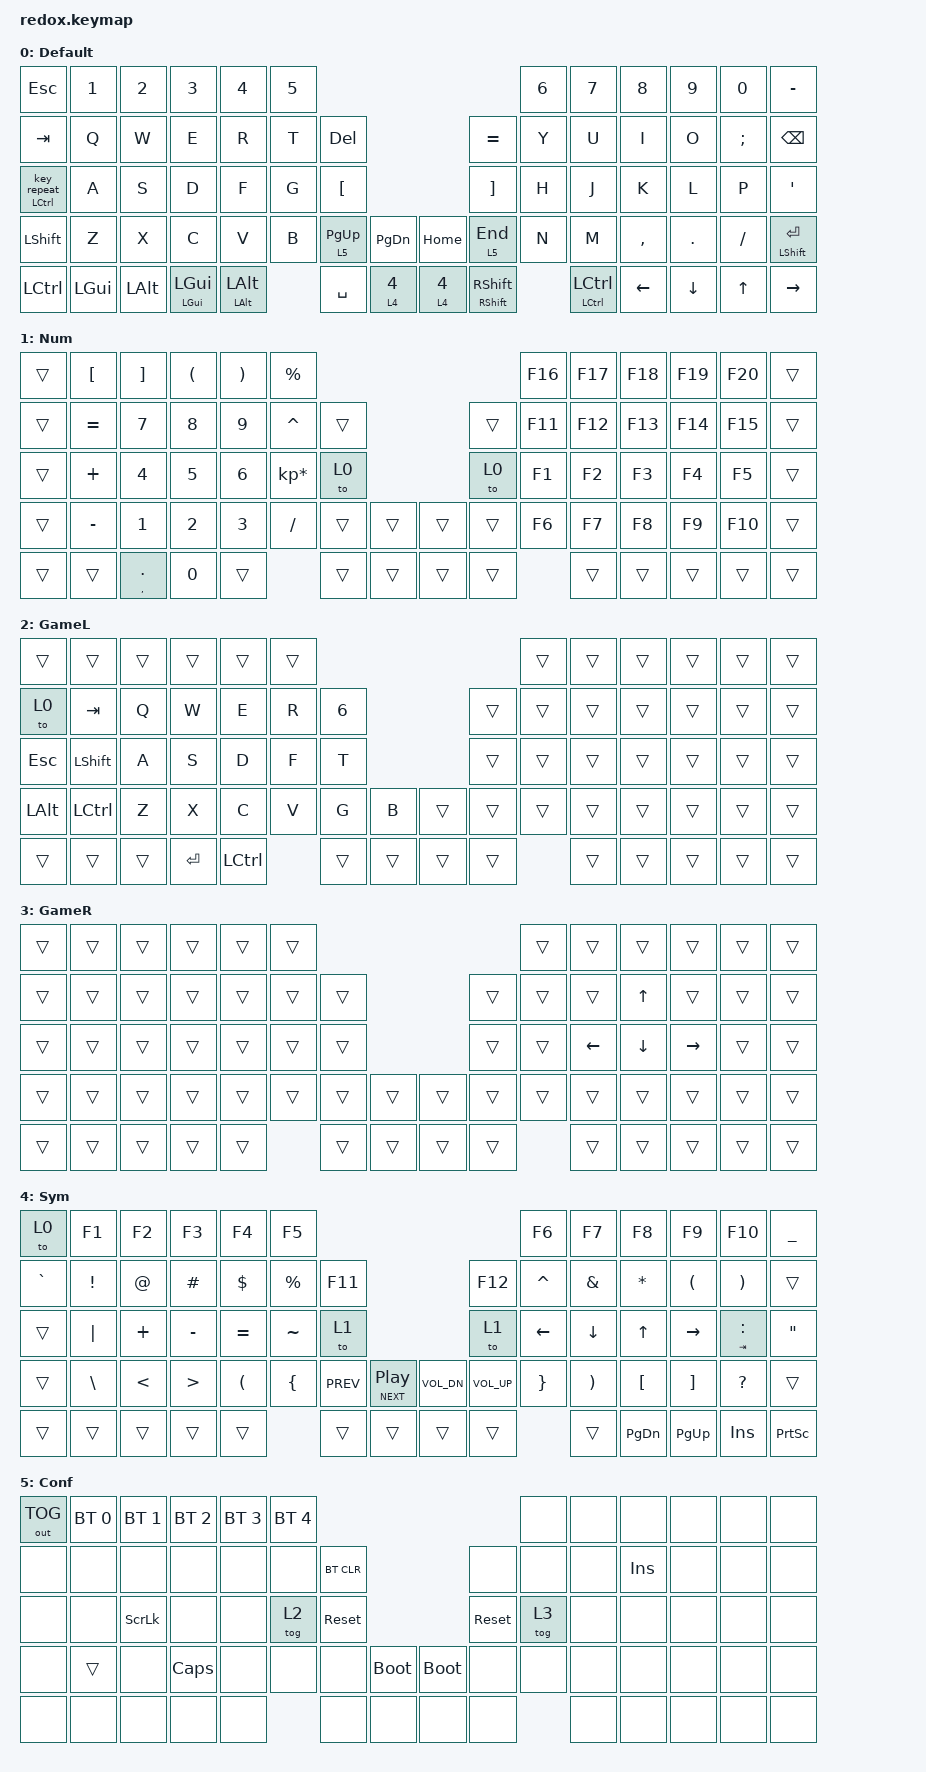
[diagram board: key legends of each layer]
/*
 * Copyright (c) 2021 The ZMK Contributors
 *
 * SPDX-License-Identifier: MIT
 */

#include <behaviors.dtsi>
#include <dt-bindings/zmk/bt.h>
#include <dt-bindings/zmk/keys.h>
#include <dt-bindings/zmk/outputs.h>

&sk { quick-release; };

/ {
    behaviors {
        htnr: behavior_hold_tap_no_rep {
            compatible = "zmk,behavior-hold-tap";
            #binding-cells = <2>;
            flavor = "tap-preferred";
            tapping-term-ms = <200>;
            bindings = <&kpnr>, <&kp>;
        };

        htsk: htsk {
            compatible = "zmk,behavior-hold-tap";
            label = "hold-tap sticky key helper";
            bindings = <&kp>, <&sk>;

            #binding-cells = <2>;
            tapping-term-ms = <200>;
            flavor = "tap-preferred";
        };

        htslim: htslim {
            compatible = "zmk,behavior-hold-tap";
            label = "hold-tap sticky layer";
            bindings = <&mo>, <&slim>;

            #binding-cells = <2>;
            tapping-term-ms = <200>;
            flavor = "tap-preferred";
        };

        slim: slim {
            compatible = "zmk,behavior-sticky-key";
            label = "Sticky layer ignore modifiers";
            bindings = <&mo>;
            #binding-cells = <1>;
            quick-release;
            ignore-modifiers;
            release-after-ms = <1800>;
        };

        ht_kp_rep: ht_kp_rep {
            compatible = "zmk,behavior-hold-tap";
            label = "Hold-tap &kp &key_repeat";
            bindings = <&kp>, <&key_repeat>;

            #binding-cells = <2>;
            tapping-term-ms = <200>;
        };

        esc_cstate: esc_cstate {
            compatible = "zmk,behavior-mod-morph";
            label = "ESC clear state";
            bindings = <&kp ESC>, <&clear_state>;

            #binding-cells = <0>;
            mods = <(MOD_LCTL|MOD_LSFT|MOD_LALT|MOD_LGUI|MOD_RCTL|MOD_RSFT|MOD_RALT|MOD_RGUI)>;
        };
    };

    macros {
        kpnr: macro_kpnr {
            compatible = "zmk,behavior-macro-one-param";
            #binding-cells = <1>;
            bindings = <&macro_param_1to1 &kp MACRO_PLACEHOLDER>;
            label = "kp no repeat";
        };

        clear_state: clear_state {
            compatible = "zmk,behavior-macro";
            #binding-cells = <0>;
            bindings = <&to 0 &kp F24>;
            label = "CLEAR_STATE";
        };
    };

    combos {
        compatible = "zmk,combos";

        combo_under {
            bindings = <&kp UNDER>;
            key-positions = <35 36>;
            layers = <0>;
        };

        combo_ret {
            bindings = <&kp RET>;
            key-positions = <30 29>;
            layers = <0 4 1>;
        };

        combo_L0 {
            bindings = <&clear_state>;
            key-positions = <62 63>;
        };

        combo_esc_right {
            bindings = <&esc_cstate>;
            key-positions = <52 53>;
            layers = <0>;
        };

        combo_esc_left {
            bindings = <&esc_cstate>;
            key-positions = <43 42>;
            layers = <0>;
        };

        combo_home {
            bindings = <&kp HOME>;
            key-positions = <31 30>;
            layers = <0 4>;
        };

        combo_end {
            bindings = <&kp END>;
            key-positions = <35 34>;
            layers = <0 4>;
        };

        combo_cstate_right {
            bindings = <&clear_state>;
            key-positions = <52 53>;
            layers = <4>;
        };

        combo_cstate_left {
            bindings = <&clear_state>;
            key-positions = <43 42>;
            layers = <4>;
        };
    };

    keymap {
        compatible = "zmk,keymap";

        default_layer {
            bindings = <
&kp ESC             &kp N1        &kp N2        &kp N3           &kp N4           &kp N5                                                              &kp N6  &kp N7             &kp N8     &kp N9    &kp N0    &kp MINUS
&kp TAB             &kp Q         &kp W         &kp E            &kp R            &kp T   &kp DELETE                               &kp EQUAL          &kp Y   &kp U              &kp I      &kp O     &kp SEMI  &kp BSPC
&ht_kp_rep LCTRL 0  &kp A         &kp S         &kp D            &kp F            &kp G   &kp LBKT                                 &kp RBKT           &kp H   &kp J              &kp K      &kp L     &kp P     &kp SQT
&kp LSHFT           &kp Z         &kp X         &kp C            &kp V            &kp B   &lt 5 PG_UP  &kp PG_DN      &kp HOME     &lt 5 END          &kp N   &kp M              &kp COMMA  &kp DOT   &kp FSLH  &mt LSHFT RET
&kp LCTRL           &kp LEFT_GUI  &kp LEFT_ALT  &htsk LGUI LGUI  &htsk LALT LALT          &kp SPACE    &htslim 4 4    &htslim 4 4  &htsk RSHFT RSHFT          &htsk LCTRL LCTRL  &kp LEFT   &kp DOWN  &kp UP    &kp RIGHT
            >;

            label = "Default";
        };

        numpad_layer {
            bindings = <
&trans  &kp LEFT_BRACKET  &kp RIGHT_BRACKET  &kp LEFT_PARENTHESIS  &kp RIGHT_PARENTHESIS  &kp PERCENT                                        &kp F16  &kp F17  &kp F18  &kp F19  &kp F20  &trans
&trans  &kp EQUAL         &kp N7             &kp N8                &kp N9                 &kp CARET        &trans                    &trans  &kp F11  &kp F12  &kp F13  &kp F14  &kp F15  &trans
&trans  &kp PLUS          &kp N4             &kp N5                &kp N6                 &kp KP_MULTIPLY  &to 0                     &to 0   &kp F1   &kp F2   &kp F3   &kp F4   &kp F5   &trans
&trans  &kp MINUS         &kp N1             &kp N2                &kp N3                 &kp FSLH         &trans  &trans    &trans  &trans  &kp F6   &kp F7   &kp F8   &kp F9   &kp F10  &trans
&trans  &trans            &htnr COMMA DOT    &kp N0                &trans                                  &trans  &trans    &trans  &trans           &trans   &trans   &trans   &trans   &trans
            >;

            label = "Num";
        };

        left_gaming_layer {
            bindings = <
&trans      &trans     &trans  &trans   &trans     &trans                                    &trans  &trans  &trans  &trans  &trans  &trans
&to 0       &kp TAB    &kp Q   &kp W    &kp E      &kp R   &kp N6                    &trans  &trans  &trans  &trans  &trans  &trans  &trans
&kp ESCAPE  &kp LSHFT  &kp A   &kp S    &kp D      &kp F   &kp T                     &trans  &trans  &trans  &trans  &trans  &trans  &trans
&kp LALT    &kp LCTRL  &kp Z   &kp X    &kp C      &kp V   &kp G   &kp B     &trans  &trans  &trans  &trans  &trans  &trans  &trans  &trans
&trans      &trans     &trans  &kp RET  &kp LCTRL          &trans  &trans    &trans  &trans          &trans  &trans  &trans  &trans  &trans
            >;

            label = "GameL";
        };

        right_gaming_layer {
            bindings = <
&trans  &trans  &trans  &trans  &trans  &trans                                    &trans  &trans    &trans    &trans     &trans  &trans
&trans  &trans  &trans  &trans  &trans  &trans  &trans                    &trans  &trans  &trans    &kp UP    &trans     &trans  &trans
&trans  &trans  &trans  &trans  &trans  &trans  &trans                    &trans  &trans  &kp LEFT  &kp DOWN  &kp RIGHT  &trans  &trans
&trans  &trans  &trans  &trans  &trans  &trans  &trans  &trans    &trans  &trans  &trans  &trans    &trans    &trans     &trans  &trans
&trans  &trans  &trans  &trans  &trans          &trans  &trans    &trans  &trans          &trans    &trans    &trans     &trans  &trans
            >;

            label = "GameR";
        };

        symbol_layer {
            bindings = <
&to 0      &kp F1         &kp F2    &kp F3     &kp F4      &kp F5                                                                       &kp F6     &kp F7         &kp F8     &kp F9     &kp F10          &kp UNDER
&kp GRAVE  &kp EXCL       &kp AT    &kp POUND  &kp DOLLAR  &kp PERCENT  &kp F11                                        &kp F12          &kp CARET  &kp AMPERSAND  &kp STAR   &kp LPAR   &kp RPAR         &trans
&trans     &kp PIPE       &kp PLUS  &kp MINUS  &kp EQUAL   &kp TILDE    &to 1                                          &to 1            &kp LEFT   &kp DOWN       &kp UP     &kp RIGHT  &htnr TAB COLON  &kp DOUBLE_QUOTES
&trans     &kp BACKSLASH  &kp LT    &kp GT     &kp LPAR    &kp LBRC     &kp C_PREV  &htnr C_NEXT C_PP    &kp C_VOL_DN  &kp C_VOLUME_UP  &kp RBRC   &kp RPAR       &kp LBKT   &kp RBKT   &kp QMARK        &trans
&trans     &trans         &trans    &trans     &trans                   &trans      &trans               &trans        &trans                      &trans         &kp PG_DN  &kp PG_UP  &kp INS          &kp PRINTSCREEN
            >;

            label = "Sym";
        };

        config_layer {
            bindings = <
&out OUT_TOG  &bt BT_SEL 0  &bt BT_SEL 1    &bt BT_SEL 2  &bt BT_SEL 3  &bt BT_SEL 4                                                      &none   &none  &none       &none  &none  &none
&none         &none         &none           &none         &none         &none         &bt BT_CLR                              &none       &none   &none  &kp INSERT  &none  &none  &none
&none         &none         &kp SCROLLLOCK  &none         &none         &tog 2        &sys_reset                              &sys_reset  &tog 3  &none  &none       &none  &none  &none
&none         &trans        &none           &kp CAPS      &none         &none         &none       &bootloader    &bootloader  &none       &none   &none  &none       &none  &none  &none
&none         &none         &none           &none         &none                       &none       &none          &none        &none               &none  &none       &none  &none  &none
            >;

            label = "Conf";
        };
    };
};
